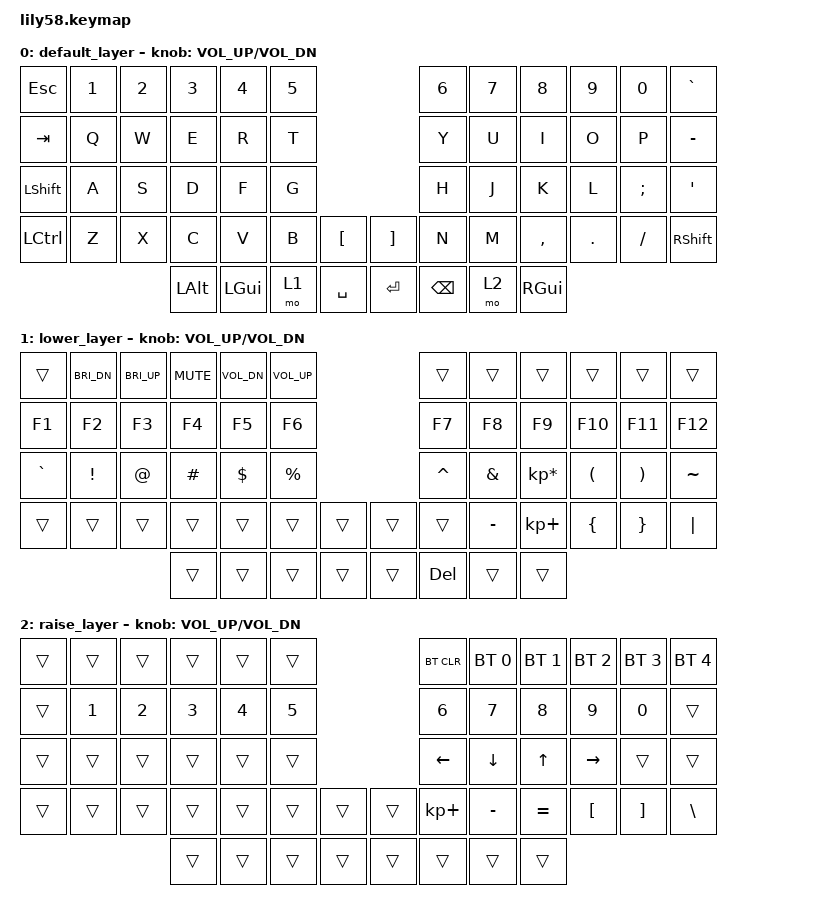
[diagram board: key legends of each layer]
/*
 * Copyright (c) 2020 The ZMK Contributors
 *
 * SPDX-License-Identifier: MIT
 */

#include <behaviors.dtsi>
#include <dt-bindings/zmk/bt.h>
#include <dt-bindings/zmk/keys.h>

/ {
    keymap {
        compatible = "zmk,keymap";

        default_layer {
            // ------------------------------------------------------------------------------------------------------------
            // |  ESC  |  1  |  2  |  3   |  4   |  5   |                   |  6   |  7    |  8    |  9   |   0   |   `   |
            // |  TAB  |  Q  |  W  |  E   |  R   |  T   |                   |  Y   |  U    |  I    |  O   |   P   |   -   |
            // |  CTRL |  A  |  S  |  D   |  F   |  G   |                   |  H   |  J    |  K    |  L   |   ;   |   '   |
            // | SHIFT |  Z  |  X  |  C   |  V   |  B   |   "["  |  |  "]"  |  N   |  M    |  ,    |  .   |   /   | SHIFT |
            //                     | ALT  | GUI  | LOWER|  SPACE |  | ENTER | RAISE| BSPC  | GUI   |

            bindings = <
&kp ESC           &kp N1  &kp N2  &kp N3    &kp N4    &kp N5                         &kp N6         &kp N7  &kp N8     &kp N9   &kp N0    &kp GRAVE
&kp TAB           &kp Q   &kp W   &kp E     &kp R     &kp T                          &kp Y          &kp U   &kp I      &kp O    &kp P     &kp MINUS
&kp LSHFT         &kp A   &kp S   &kp D     &kp F     &kp G                          &kp H          &kp J   &kp K      &kp L    &kp SEMI  &kp SQT
&kp LEFT_CONTROL  &kp Z   &kp X   &kp C     &kp V     &kp B   &kp LBKT     &kp RBKT  &kp N          &kp M   &kp COMMA  &kp DOT  &kp FSLH  &kp RSHFT
                                  &kp LALT  &kp LGUI  &mo 1   &kp SPACE    &kp RET   &kp BACKSPACE  &mo 2   &kp RGUI
            >;

            sensor-bindings = <&inc_dec_kp C_VOL_UP C_VOL_DN>;
        };

        lower_layer {
            // --------------------------------------------------------------------------------------------------------------
            // | LPAD  | BRDn | BRUp |  MUT |  Vo- |  Vo+ |                   |      |       |       |      |       |       |
            // |  F1   |  F2  |  F3  |  F4  |  F5  |  F6  |                   |  F7  |  F8   |  F9   |  F10 |  F11  |  F12  |
            // |   `   |  !   |  @   |  #   |  $   |  %   |                   |  ^   |  &    |  *    |  (   |   )   |   ~   |
            // |       |      |      |      |      |      |        |  |       |      |  _    |  +    |  {   |   }   |  "|"  |
            //                       |      |      |      |        |  |       |      |       |       |

            bindings = <
&trans     &kp C_BRI_DN  &kp C_BRI_UP  &kp C_MUTE  &kp C_VOL_DN  &kp C_VOL_UP                    &trans      &trans     &trans           &trans    &trans    &trans
&kp F1     &kp F2        &kp F3        &kp F4      &kp F5        &kp F6                          &kp F7      &kp F8     &kp F9           &kp F10   &kp F11   &kp F12
&kp GRAVE  &kp EXCL      &kp AT        &kp HASH    &kp DOLLAR    &kp PRCNT                       &kp CARET   &kp AMPS   &kp KP_MULTIPLY  &kp LPAR  &kp RPAR  &kp TILDE
&trans     &trans        &trans        &trans      &trans        &trans        &trans    &trans  &trans      &kp MINUS  &kp KP_PLUS      &kp LBRC  &kp RBRC  &kp PIPE
                                       &trans      &trans        &trans        &trans    &trans  &kp DELETE  &trans     &trans
            >;

            sensor-bindings = <&inc_dec_kp C_VOL_UP C_VOL_DN>;
        };

        raise_layer {
            // ------------------------------------------------------------------------------------------------------------
            // |       |     |     |      |      |      |                   |      |       |       |      |       |       |
            // |   `   |  1  |  2  |  3   |  4   |  5   |                   |  6   |   7   |   8   |  9   |   0   |       |
            // |   F1  |  F2 |  F3 |  F4  |  F5  |  F6  |                   |      |   <-  |   v   |  ^   |  ->   |       |
            // |   F7  |  F8 |  F9 |  F10 |  F11 |  F12 |        |  |       |  +   |   -   |   =   |  [   |   ]   |   \   |
            //                     |      |      |      |        |  |       |      |       |       |

            bindings = <
&trans  &trans        &trans        &trans        &trans        &trans                          &bt BT_CLR   &bt BT_SEL 0    &bt BT_SEL 1  &bt BT_SEL 2     &bt BT_SEL 3  &bt BT_SEL 4
&trans  &kp NUMBER_1  &kp NUMBER_2  &kp NUMBER_3  &kp NUMBER_4  &kp NUMBER_5                    &kp N6       &kp N7          &kp N8        &kp N9           &kp N0        &trans
&trans  &trans        &trans        &trans        &trans        &trans                          &kp LEFT     &kp DOWN_ARROW  &kp UP_ARROW  &kp RIGHT_ARROW  &trans        &trans
&trans  &trans        &trans        &trans        &trans        &trans        &trans    &trans  &kp KP_PLUS  &kp MINUS       &kp EQUAL     &kp LBKT         &kp RBKT      &kp BSLH
                                    &trans        &trans        &trans        &trans    &trans  &trans       &trans          &trans
            >;

            sensor-bindings = <&inc_dec_kp C_VOL_UP C_VOL_DN>;
        };
    };
};
